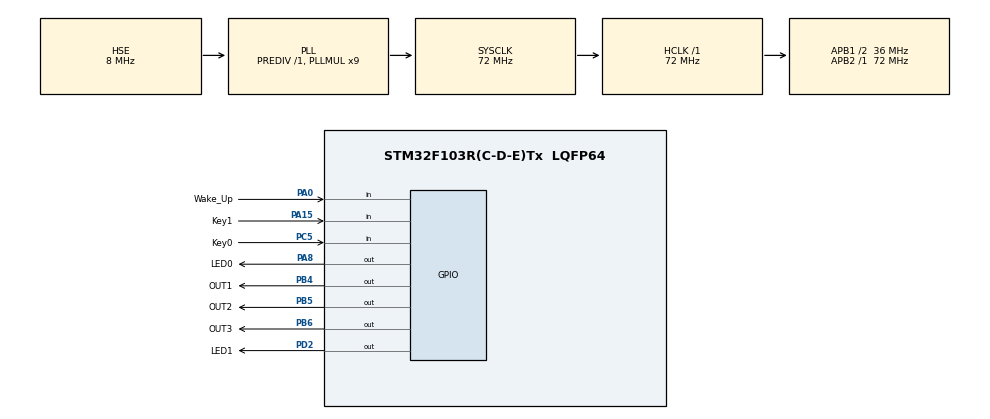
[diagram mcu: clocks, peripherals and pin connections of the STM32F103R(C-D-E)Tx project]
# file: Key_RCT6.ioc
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Mcu.Family=STM32F1
Mcu.Name=STM32F103R(C-D-E)Tx
Mcu.Package=LQFP64
NVIC.PriorityGroup=NVIC_PRIORITYGROUP_4
NVIC.RCC_IRQn=true\:0\:0\:false\:false\:true\:true\:false\:true
PA0-WKUP.GPIO_Label=Wake_Up
PA0-WKUP.GPIO_PuPd=GPIO_PULLDOWN
PA0-WKUP.Signal=GPIO_Input
PA13.Mode=Serial_Wire
PA13.Signal=SYS_JTMS-SWDIO
PA14.Mode=Serial_Wire
PA14.Signal=SYS_JTCK-SWCLK
PA15.GPIO_Label=Key1
PA15.GPIO_PuPd=GPIO_PULLUP
PA15.Signal=GPIO_Input
PA8.GPIO_Label=LED0
PA8.GPIO_PuPd=GPIO_PULLUP
PA8.Signal=GPIO_Output
PB4.GPIO_Label=OUT1
PB4.GPIO_PuPd=GPIO_PULLDOWN
PB4.Signal=GPIO_Output
PB5.GPIO_Label=OUT2
PB5.GPIO_PuPd=GPIO_PULLDOWN
PB5.Signal=GPIO_Output
PB6.GPIO_Label=OUT3
PB6.GPIO_PuPd=GPIO_PULLDOWN
PB6.Signal=GPIO_Output
PC14-OSC32_IN.Mode=LSE-External-Oscillator
PC14-OSC32_IN.Signal=RCC_OSC32_IN
PC15-OSC32_OUT.Mode=LSE-External-Oscillator
PC15-OSC32_OUT.Signal=RCC_OSC32_OUT
PC5.GPIO_Label=Key0
PC5.GPIO_PuPd=GPIO_PULLUP
PC5.Signal=GPIO_Input
PD0-OSC_IN.Mode=HSE-External-Oscillator
PD0-OSC_IN.Signal=RCC_OSC_IN
PD1-OSC_OUT.Mode=HSE-External-Oscillator
PD1-OSC_OUT.Signal=RCC_OSC_OUT
PD2.GPIO_Label=LED1
PD2.GPIO_PuPd=GPIO_PULLUP
PD2.Signal=GPIO_Output
ProjectManager.HeapSize=0x200
ProjectManager.StackSize=0x400
ProjectManager.TargetToolchain=MDK-ARM V5.32
RCC.AHBFreq_Value=72000000
RCC.APB1CLKDivider=RCC_HCLK_DIV2
RCC.APB1Freq_Value=36000000
RCC.APB1TimFreq_Value=72000000
RCC.APB2Freq_Value=72000000
RCC.APB2TimFreq_Value=72000000
RCC.HCLKFreq_Value=72000000
RCC.PLLMUL=RCC_PLL_MUL9
RCC.PLLSourceVirtual=RCC_PLLSOURCE_HSE
RCC.SYSCLKFreq_VALUE=72000000
RCC.SYSCLKSource=RCC_SYSCLKSOURCE_PLLCLK
RCC.USBFreq_Value=72000000
board=custom

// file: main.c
/* USER CODE BEGIN Header */
/**
  ******************************************************************************
  * @file           : main.c
  * @brief          : Main program body
  ******************************************************************************
  * @attention
  *
  * Copyright (c) 2022 STMicroelectronics.
  * All rights reserved.
  *
  * This software is licensed under terms that can be found in the LICENSE file
  * in the root directory of this software component.
  * If no LICENSE file comes with this software, it is provided AS-IS.
  *
  ******************************************************************************
  */
/* USER CODE END Header */
#include "main.h"
#include "gpio.h"

/* USER CODE BEGIN PV */
int key_scan(void);
/* USER CODE END PV */

void SystemClock_Config(void);

int main(void)
{
  /* USER CODE BEGIN 1 */
//  int i = 0;
  /* USER CODE END 1 */

  /* MCU Configuration--------------------------------------------------------*/

  /* Reset of all peripherals, Initializes the Flash interface and the Systick. */
  HAL_Init();

  /* Configure the system clock */
  SystemClock_Config();

  /* Initialize all configured peripherals */
  MX_GPIO_Init();

  /* Infinite loop */
  /* USER CODE BEGIN WHILE */
  while (1)
  {
    if(HAL_GPIO_ReadPin(GPIOA,GPIO_PIN_15) == RESET)//key1
    {
      HAL_Delay(100);
      if(HAL_GPIO_ReadPin(GPIOA,GPIO_PIN_15) == RESET)
      {
        HAL_GPIO_TogglePin(GPIOA,GPIO_PIN_8);
        HAL_GPIO_TogglePin(GPIOB,GPIO_PIN_4);
      }
    }
    if(HAL_GPIO_ReadPin(GPIOC,GPIO_PIN_5) == RESET)//key0
    {
      HAL_Delay(100);
      if(HAL_GPIO_ReadPin(GPIOC,GPIO_PIN_5) == RESET)
      {

        HAL_GPIO_TogglePin(GPIOD,GPIO_PIN_2);
        HAL_GPIO_TogglePin(GPIOB,GPIO_PIN_5);
      }
    }
    if(HAL_GPIO_ReadPin(GPIOA,GPIO_PIN_0) == SET)//wake_up
    {
      HAL_Delay(100);
      if(HAL_GPIO_ReadPin(GPIOA,GPIO_PIN_0) == SET)
      {
        HAL_GPIO_TogglePin(GPIOA,GPIO_PIN_8);
        HAL_GPIO_TogglePin(GPIOD,GPIO_PIN_2);
        HAL_GPIO_TogglePin(GPIOB,GPIO_PIN_6);
      }
    }
//    i = key_scan();
//    switch(i)
//    {
//      case 0:HAL_Delay(10);break;
//      case 1:HAL_GPIO_TogglePin(GPIOA,GPIO_PIN_8);break;
//      case 2:HAL_GPIO_TogglePin(GPIOD,GPIO_PIN_2);break;
//      case 3:HAL_GPIO_TogglePin(GPIOD,GPIO_PIN_2);HAL_GPIO_TogglePin(GPIOA,GPIO_PIN_8);break;
//    }
    /* USER CODE END WHILE */

  }
}

void SystemClock_Config(void)
{
  RCC_OscInitTypeDef RCC_OscInitStruct = {0};
  RCC_ClkInitTypeDef RCC_ClkInitStruct = {0};

  /** Initializes the RCC Oscillators according to the specified parameters
  * in the RCC_OscInitTypeDef structure.
  */
  RCC_OscInitStruct.OscillatorType = RCC_OSCILLATORTYPE_HSE;
  RCC_OscInitStruct.HSEState = RCC_HSE_ON;
  RCC_OscInitStruct.HSEPredivValue = RCC_HSE_PREDIV_DIV1;
  RCC_OscInitStruct.HSIState = RCC_HSI_ON;
  RCC_OscInitStruct.PLL.PLLState = RCC_PLL_ON;
  RCC_OscInitStruct.PLL.PLLSource = RCC_PLLSOURCE_HSE;
  RCC_OscInitStruct.PLL.PLLMUL = RCC_PLL_MUL9;
  if (HAL_RCC_OscConfig(&RCC_OscInitStruct) != HAL_OK)
  {
    Error_Handler();
  }

  /** Initializes the CPU, AHB and APB buses clocks
  */
  RCC_ClkInitStruct.ClockType = RCC_CLOCKTYPE_HCLK|RCC_CLOCKTYPE_SYSCLK
                              |RCC_CLOCKTYPE_PCLK1|RCC_CLOCKTYPE_PCLK2;
  RCC_ClkInitStruct.SYSCLKSource = RCC_SYSCLKSOURCE_PLLCLK;
  RCC_ClkInitStruct.AHBCLKDivider = RCC_SYSCLK_DIV1;
  RCC_ClkInitStruct.APB1CLKDivider = RCC_HCLK_DIV2;
  RCC_ClkInitStruct.APB2CLKDivider = RCC_HCLK_DIV1;

  if (HAL_RCC_ClockConfig(&RCC_ClkInitStruct, FLASH_LATENCY_2) != HAL_OK)
  {
    Error_Handler();
  }
}

/* USER CODE BEGIN 4 */
int key_scan(void)
{
  if((HAL_GPIO_ReadPin(GPIOA,GPIO_PIN_0) == SET) || (HAL_GPIO_ReadPin(GPIOC,GPIO_PIN_15) == RESET) || (HAL_GPIO_ReadPin(GPIOA,GPIO_PIN_15) == RESET))
  {
    HAL_Delay(800);//����
    if(HAL_GPIO_ReadPin(GPIOA,GPIO_PIN_0) == SET)
    {
      return 1;
//      HAL_GPIO_WritePin(GPIOA,GPIO_PIN_8,GPIO_PIN_RESET);
    }
    else if(HAL_GPIO_ReadPin(GPIOC,GPIO_PIN_5) == RESET)
    {
      return 2;
//      HAL_GPIO_WritePin(GPIOA,GPIO_PIN_8,GPIO_PIN_SET);
    }
    else if(HAL_GPIO_ReadPin(GPIOA,GPIO_PIN_15) == RESET)
    {
      return 3;
//      HAL_GPIO_TogglePin(GPIOD,GPIO_PIN_2);
    }
  }
  return 0;
}
/* USER CODE END 4 */

void Error_Handler(void)
{
  __disable_irq();
  while (1)
  {
  }
}
